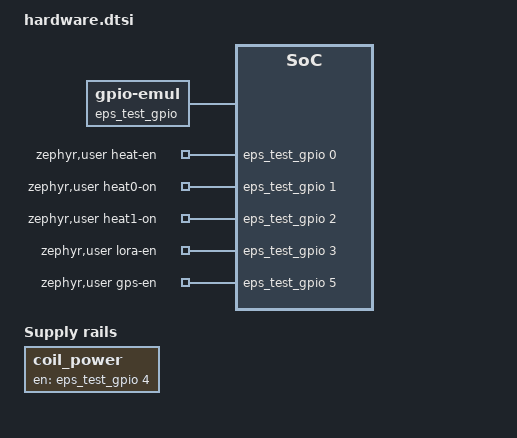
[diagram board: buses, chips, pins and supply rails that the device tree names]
/* SPDX-License-Identifier: Apache-2.0 */
#include <zephyr/dt-bindings/gpio/gpio.h>

/ {
	eps_test_gpio: gpio-test {
		compatible = "zephyr,gpio-emul";
		gpio-controller;
		#gpio-cells = <2>;
		ngpios = <8>;
	};

	zephyr,user {
		heat-en-gpios = <&eps_test_gpio 0 GPIO_ACTIVE_HIGH>;
		heat0-on-gpios = <&eps_test_gpio 1 GPIO_ACTIVE_HIGH>;
		heat1-on-gpios = <&eps_test_gpio 2 GPIO_ACTIVE_HIGH>;
		lora-en-gpios = <&eps_test_gpio 3 GPIO_ACTIVE_HIGH>;
		gps-en-gpios = <&eps_test_gpio 5 GPIO_ACTIVE_HIGH>;
	};

	coil_power: coil-supply {
		compatible = "regulator-fixed";
		regulator-name = "coil-test";
		enable-gpios = <&eps_test_gpio 4 GPIO_ACTIVE_HIGH>;
	};
};
